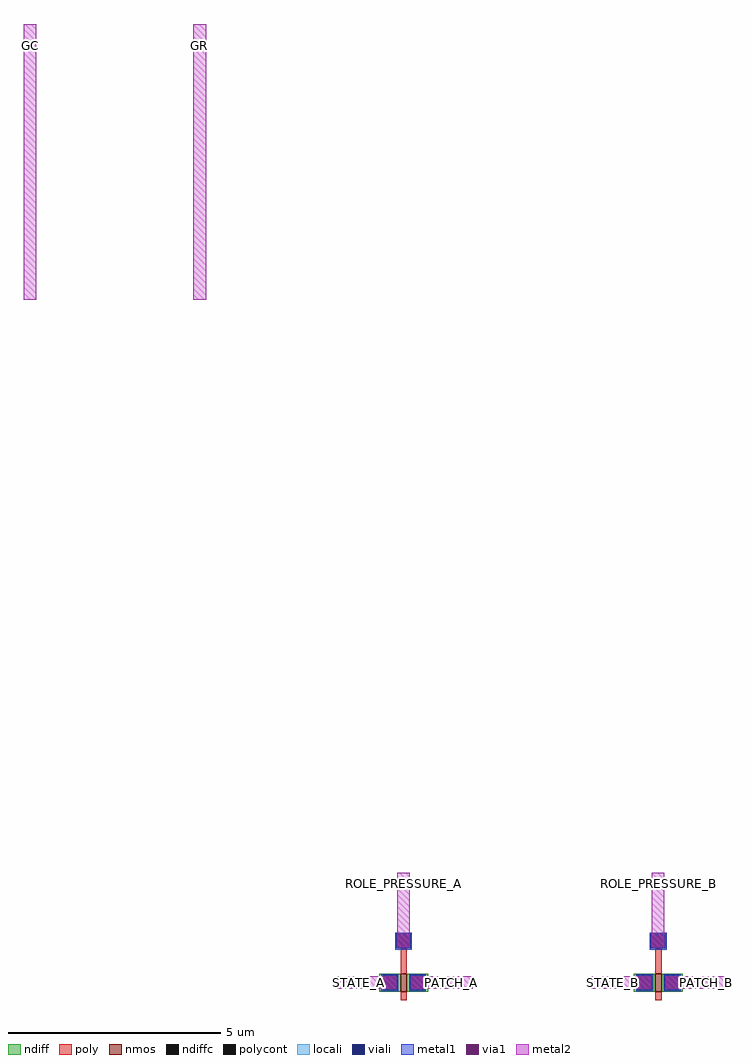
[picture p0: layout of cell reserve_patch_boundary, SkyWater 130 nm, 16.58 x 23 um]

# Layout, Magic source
magic
tech sky130A
<< metal1 >>
rect 905 -699 945 -659
rect 970 -699 1010 -659
rect 937 -601 977 -561
rect 1505 -699 1545 -659
rect 1570 -699 1610 -659
rect 1537 -601 1577 -561
<< via1 >>
rect 910 -694 940 -664
rect 975 -694 1005 -664
rect 942 -596 972 -566
rect 1510 -694 1540 -664
rect 1575 -694 1605 -664
rect 1542 -596 1572 -566
<< metal2 >>
rect 62 930 92 1580
rect 462 930 492 1580
rect 800 -694 940 -664
rect 975 -694 1120 -664
rect 1400 -694 1540 -664
rect 1575 -694 1720 -664
rect 942 -596 972 -420
rect 1542 -596 1572 -420
use nf_reset patch_a
transform 1 0 900 0 1 -700
box 0 -20 115 139
use nf_reset patch_b
transform 1 0 1500 0 1 -700
box 0 -20 115 139
<< labels >>
rlabel metal2 62 1500 92 1560 0 GC
rlabel metal2 462 1500 492 1560 0 GR
rlabel metal2 800 -694 900 -664 0 STATE_A
rlabel metal2 1020 -694 1120 -664 0 PATCH_A
rlabel metal2 1400 -694 1500 -664 0 STATE_B
rlabel metal2 1620 -694 1720 -664 0 PATCH_B
rlabel metal2 942 -470 972 -420 0 ROLE_PRESSURE_A
rlabel metal2 1542 -470 1572 -420 0 ROLE_PRESSURE_B
<< end >>

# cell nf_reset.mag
magic
tech sky130A
<< nmos >>
rect 50 0 65 42
<< ndiff >>
rect 0 38 50 42
rect 0 4 8 38
rect 42 4 50 38
rect 0 0 50 4
rect 65 38 115 42
rect 65 4 73 38
rect 107 4 115 38
rect 65 0 115 4
<< ndiffc >>
rect 8 4 42 38
rect 73 4 107 38
<< poly >>
rect 37 102 40 136
rect 74 102 77 136
rect 50 42 65 102
rect 50 -20 65 0
<< polycont >>
rect 40 102 74 136
<< locali >>
rect 37 102 40 136
rect 74 102 77 136
<< viali >>
rect 40 102 74 136
rect 8 4 42 38
rect 73 4 107 38
<< metal1 >>
rect 37 136 77 139
rect 37 102 40 136
rect 74 102 77 136
rect 37 99 77 102
rect 5 38 45 41
rect 5 4 8 38
rect 42 4 45 38
rect 5 1 45 4
rect 70 38 110 41
rect 70 4 73 38
rect 107 4 110 38
rect 70 1 110 4
<< labels >>
flabel metal1 s 5 1 45 41 0 FreeSans 200 0 0 0 SOURCE
port 1 nsew
flabel metal1 s 70 1 110 41 0 FreeSans 200 0 0 0 DRAIN
port 2 nsew
flabel metal1 s 37 99 77 139 0 FreeSans 200 0 0 0 GATE
port 3 nsew
<< end >>
